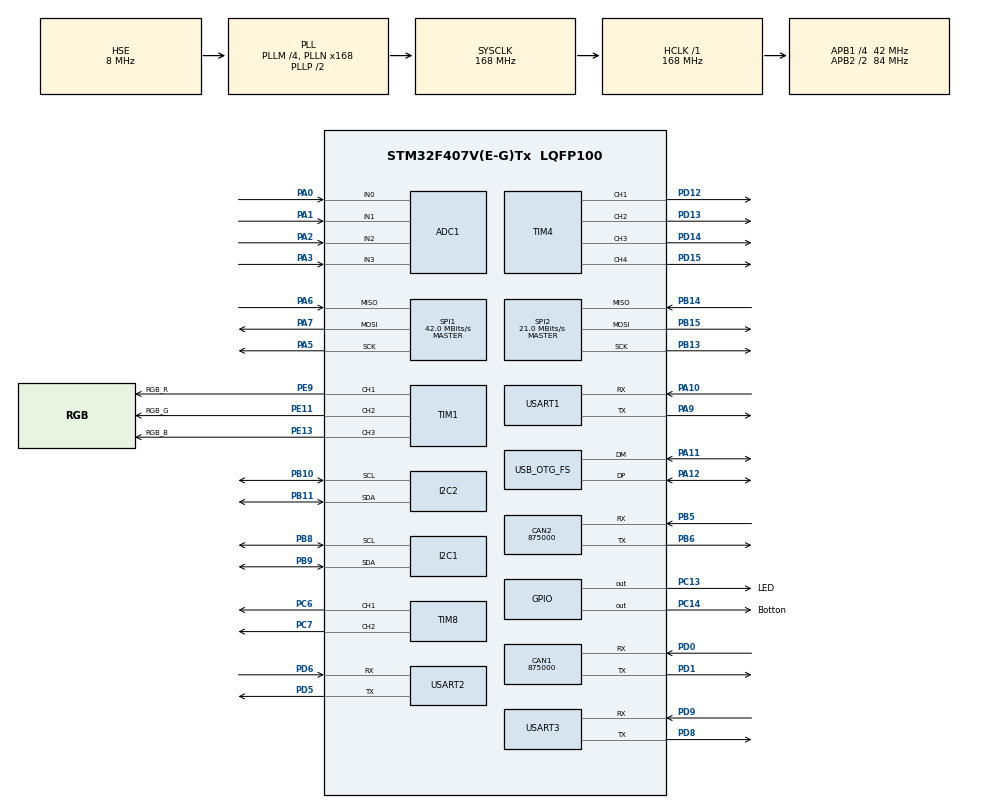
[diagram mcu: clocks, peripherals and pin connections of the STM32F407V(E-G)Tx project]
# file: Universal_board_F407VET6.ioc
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ADC1.Channel-0\#ChannelRegularConversion=ADC_CHANNEL_0
ADC1.Channel-1\#ChannelRegularConversion=ADC_CHANNEL_1
ADC1.Channel-2\#ChannelRegularConversion=ADC_CHANNEL_2
ADC1.Channel-3\#ChannelRegularConversion=ADC_CHANNEL_3
ADC1.ContinuousConvMode=ENABLE
ADC1.DMAContinuousRequests=ENABLE
ADC1.NbrOfConversion=4
ADC1.NbrOfConversionFlag=1
ADC1.Rank-0\#ChannelRegularConversion=1
ADC1.Rank-1\#ChannelRegularConversion=2
ADC1.Rank-2\#ChannelRegularConversion=3
ADC1.Rank-3\#ChannelRegularConversion=4
ADC1.SamplingTime-0\#ChannelRegularConversion=ADC_SAMPLETIME_15CYCLES
ADC1.SamplingTime-1\#ChannelRegularConversion=ADC_SAMPLETIME_15CYCLES
ADC1.SamplingTime-2\#ChannelRegularConversion=ADC_SAMPLETIME_15CYCLES
ADC1.SamplingTime-3\#ChannelRegularConversion=ADC_SAMPLETIME_15CYCLES
ADC1.master=1
CAN1.CalculateBaudRate=875000
CAN1.CalculateTimeBit=1142
CAN1.CalculateTimeQuantum=380.95238095238096
CAN2.CalculateBaudRate=875000
CAN2.CalculateTimeBit=1142
CAN2.CalculateTimeQuantum=380.95238095238096
Dma.ADC1.1.Direction=DMA_PERIPH_TO_MEMORY
Dma.ADC1.1.FIFOMode=DMA_FIFOMODE_DISABLE
Dma.ADC1.1.Instance=DMA2_Stream0
Dma.ADC1.1.MemDataAlignment=DMA_MDATAALIGN_HALFWORD
Dma.ADC1.1.MemInc=DMA_MINC_ENABLE
Dma.ADC1.1.Mode=DMA_CIRCULAR
Dma.ADC1.1.PeriphDataAlignment=DMA_PDATAALIGN_HALFWORD
Dma.ADC1.1.PeriphInc=DMA_PINC_DISABLE
Dma.ADC1.1.Priority=DMA_PRIORITY_LOW
Dma.Request0=USART1_RX
Dma.Request1=ADC1
Dma.USART1_RX.0.Direction=DMA_PERIPH_TO_MEMORY
Dma.USART1_RX.0.FIFOMode=DMA_FIFOMODE_DISABLE
Dma.USART1_RX.0.Instance=DMA2_Stream2
Dma.USART1_RX.0.MemDataAlignment=DMA_MDATAALIGN_BYTE
Dma.USART1_RX.0.MemInc=DMA_MINC_ENABLE
Dma.USART1_RX.0.Mode=DMA_NORMAL
Dma.USART1_RX.0.PeriphDataAlignment=DMA_PDATAALIGN_BYTE
Dma.USART1_RX.0.PeriphInc=DMA_PINC_DISABLE
Dma.USART1_RX.0.Priority=DMA_PRIORITY_LOW
Mcu.Family=STM32F4
Mcu.Name=STM32F407V(E-G)Tx
Mcu.Package=LQFP100
NVIC.DMA2_Stream0_IRQn=true\:0\:0\:false\:false\:true\:false\:true\:true
NVIC.DMA2_Stream2_IRQn=true\:0\:0\:false\:false\:true\:false\:true\:true
NVIC.PriorityGroup=NVIC_PRIORITYGROUP_4
NVIC.TIM2_IRQn=true\:15\:0\:false\:false\:true\:false\:true\:true
NVIC.TIM8_TRG_COM_TIM14_IRQn=true\:15\:0\:false\:false\:true\:false\:true\:true
NVIC.TimeBase=TIM2_IRQn
NVIC.TimeBaseIP=TIM2
NVIC.USART1_IRQn=true\:0\:0\:false\:false\:true\:true\:true\:true
PA0-WKUP.Signal=ADCx_IN0
PA1.Signal=ADCx_IN1
PA10.Mode=Asynchronous
PA10.Signal=USART1_RX
PA11.Mode=Device_Only
PA11.Signal=USB_OTG_FS_DM
PA12.Mode=Device_Only
PA12.Signal=USB_OTG_FS_DP
PA13.Mode=Serial_Wire
PA13.Signal=SYS_JTMS-SWDIO
PA14.Mode=Serial_Wire
PA14.Signal=SYS_JTCK-SWCLK
PA2.Signal=ADCx_IN2
PA3.Signal=ADCx_IN3
PA5.Mode=Full_Duplex_Master
PA5.Signal=SPI1_SCK
PA6.Mode=Full_Duplex_Master
PA6.Signal=SPI1_MISO
PA7.Mode=Full_Duplex_Master
PA7.Signal=SPI1_MOSI
PA9.Mode=Asynchronous
PA9.Signal=USART1_TX
PB10.Mode=I2C
PB10.Signal=I2C2_SCL
PB11.Mode=I2C
PB11.Signal=I2C2_SDA
PB13.Mode=Full_Duplex_Master
PB13.Signal=SPI2_SCK
PB14.Mode=Full_Duplex_Master
PB14.Signal=SPI2_MISO
PB15.Mode=Full_Duplex_Master
PB15.Signal=SPI2_MOSI
PB5.Mode=CAN_Activate
PB5.Signal=CAN2_RX
PB6.Mode=CAN_Activate
PB6.Signal=CAN2_TX
PB8.Mode=I2C
PB8.Signal=I2C1_SCL
PB9.Mode=I2C
PB9.Signal=I2C1_SDA
PC13-ANTI_TAMP.GPIO_Label=LED
PC13-ANTI_TAMP.GPIO_ModeDefaultOutputPP=GPIO_MODE_OUTPUT_PP
PC13-ANTI_TAMP.GPIO_Speed=GPIO_SPEED_FREQ_LOW
PC13-ANTI_TAMP.PinState=GPIO_PIN_SET
PC13-ANTI_TAMP.Signal=GPIO_Output
PC14-OSC32_IN.GPIO_Label=Botton
PC14-OSC32_IN.PinState=GPIO_PIN_SET
PC14-OSC32_IN.Signal=GPIO_Output
PC6.Signal=S_TIM8_CH1
PC7.Signal=S_TIM8_CH2
PD0.Mode=CAN_Activate
PD0.Signal=CAN1_RX
PD1.Mode=CAN_Activate
PD1.Signal=CAN1_TX
PD12.Signal=S_TIM4_CH1
PD13.Signal=S_TIM4_CH2
PD14.Signal=S_TIM4_CH3
PD15.Signal=S_TIM4_CH4
PD5.Mode=Asynchronous
PD5.Signal=USART2_TX
PD6.Mode=Asynchronous
PD6.Signal=USART2_RX
PD8.Mode=Asynchronous
PD8.Signal=USART3_TX
PD9.Mode=Asynchronous
PD9.Signal=USART3_RX
PE11.GPIO_Label=RGB_G
PE11.Signal=S_TIM1_CH2
PE13.GPIO_Label=RGB_B
PE13.Signal=S_TIM1_CH3
PE9.GPIO_Label=RGB_R
PE9.Signal=S_TIM1_CH1
PH0-OSC_IN.Mode=HSE-External-Oscillator
PH0-OSC_IN.Signal=RCC_OSC_IN
PH1-OSC_OUT.Mode=HSE-External-Oscillator
PH1-OSC_OUT.Signal=RCC_OSC_OUT
ProjectManager.HeapSize=0x2000
ProjectManager.StackSize=0x4000
ProjectManager.TargetToolchain=MDK-ARM V5.32
RCC.48MHZClocksFreq_Value=48000000
RCC.AHBFreq_Value=168000000
RCC.APB1CLKDivider=RCC_HCLK_DIV4
RCC.APB1Freq_Value=42000000
RCC.APB1TimFreq_Value=84000000
RCC.APB2CLKDivider=RCC_HCLK_DIV2
RCC.APB2Freq_Value=84000000
RCC.APB2TimFreq_Value=168000000
RCC.CortexFreq_Value=168000000
RCC.HCLKFreq_Value=168000000
RCC.HSE_VALUE=8000000
RCC.HSI_VALUE=16000000
RCC.LSE_VALUE=32768
RCC.PLLM=4
RCC.PLLN=168
RCC.PLLQ=7
RCC.SYSCLKFreq_VALUE=168000000
RCC.SYSCLKSource=RCC_SYSCLKSOURCE_PLLCLK
RCC.VCOOutputFreq_Value=336000000
SH.ADCx_IN0.0=ADC1_IN0,IN0
SH.ADCx_IN1.0=ADC1_IN1,IN1
SH.ADCx_IN2.0=ADC1_IN2,IN2
SH.ADCx_IN3.0=ADC1_IN3,IN3
SH.S_TIM1_CH1.0=TIM1_CH1,PWM Generation1 CH1
SH.S_TIM1_CH2.0=TIM1_CH2,PWM Generation2 CH2
SH.S_TIM1_CH3.0=TIM1_CH3,PWM Generation3 CH3
SH.S_TIM4_CH1.0=TIM4_CH1,PWM Generation1 CH1
SH.S_TIM4_CH2.0=TIM4_CH2,PWM Generation2 CH2
SH.S_TIM4_CH3.0=TIM4_CH3,PWM Generation3 CH3
SH.S_TIM4_CH4.0=TIM4_CH4,PWM Generation4 CH4
SH.S_TIM8_CH1.0=TIM8_CH1,PWM Generation1 CH1
SH.S_TIM8_CH2.0=TIM8_CH2,PWM Generation2 CH2
SPI1.CalculateBaudRate=42.0 MBits/s
SPI1.Direction=SPI_DIRECTION_2LINES
SPI1.Mode=SPI_MODE_MASTER
SPI1.VirtualType=VM_MASTER
SPI2.CalculateBaudRate=21.0 MBits/s
SPI2.Direction=SPI_DIRECTION_2LINES
SPI2.Mode=SPI_MODE_MASTER
SPI2.VirtualType=VM_MASTER
STMicroelectronics.X-CUBE-AZRTOS-F4.1.1.0.AZRTOS_APP_MEM_ALLOCATION_METHOD=0
STMicroelectronics.X-CUBE-AZRTOS-F4.1.1.0.TX_APP_MEM_POOL_SIZE=4096
STMicroelectronics.X-CUBE-AZRTOS-F4.1.1.0.TX_TIMER_TICKS_PER_SECOND=1000
STMicroelectronics.X-CUBE-AZRTOS-F4.1.1.0_IsAnAzureRtosMw=true
TIM1.Channel-PWM\ Generation1\ CH1=TIM_CHANNEL_1
TIM1.Channel-PWM\ Generation2\ CH2=TIM_CHANNEL_2
TIM1.Channel-PWM\ Generation3\ CH3=TIM_CHANNEL_3
TIM4.Channel-PWM\ Generation1\ CH1=TIM_CHANNEL_1
TIM4.Channel-PWM\ Generation2\ CH2=TIM_CHANNEL_2
TIM4.Channel-PWM\ Generation3\ CH3=TIM_CHANNEL_3
TIM4.Channel-PWM\ Generation4\ CH4=TIM_CHANNEL_4
TIM8.Channel-PWM\ Generation1\ CH1=TIM_CHANNEL_1
TIM8.Channel-PWM\ Generation2\ CH2=TIM_CHANNEL_2
USART1.VirtualMode=VM_ASYNC
USART2.VirtualMode=VM_ASYNC
USART3.VirtualMode=VM_ASYNC
USB_OTG_FS.VirtualMode=Device_Only
VP_CRC_VS_CRC.Mode=CRC_Activate
VP_RNG_VS_RNG.Mode=RNG_Activate
VP_SYS_VS_tim2.Mode=TIM2
board=custom

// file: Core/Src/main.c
/* USER CODE BEGIN Header */
/**
  ******************************************************************************
  * @file           : main.c
  * @brief          : Main program body
  ******************************************************************************
  * @attention
  *
  * Copyright (c) 2024 STMicroelectronics.
  * All rights reserved.
  *
  * This software is licensed under terms that can be found in the LICENSE file
  * in the root directory of this software component.
  * If no LICENSE file comes with this software, it is provided AS-IS.
  *
  ******************************************************************************
  */
/* USER CODE END Header */
#include "main.h"
#include "adc.h"
#include "can.h"
#include "crc.h"
#include "dma.h"
#include "i2c.h"
#include "rng.h"
#include "spi.h"
#include "tim.h"
#include "usart.h"
#include "usb_otg.h"
#include "gpio.h"

/* USER CODE BEGIN Includes */
#include "ThreadX_control.h"
#include "stdio.h"
/* USER CODE END Includes */

/* USER CODE BEGIN PTD */
//Serial port redirection
#ifdef __GNUC__
#define PUTCHAR_PROTOTYPE int __io_putchar(int ch)
#else
#define PUTCHAR_PROTOTYPE int fputc(int ch, FILE *f)
#endif
PUTCHAR_PROTOTYPE
{
    HAL_UART_Transmit(&huart1 , (uint8_t *)&ch, 1, 0xFFFF);
    return ch;
}
/* USER CODE END PTD */

void SystemClock_Config(void);
/* USER CODE BEGIN PFP */
/*******************************************************************************
* Function Name  : tx_application_define
* Description    : tx_application_define
* Input          : VOID *first_unused_memory
* Output         : None
* Return         : None
* Note			     :
*******************************************************************************/
VOID tx_application_define(VOID *first_unused_memory)
{

  VOID *memory_ptr;

  if (tx_byte_pool_create(&tx_app_byte_pool, "Tx App memory pool", tx_byte_pool_buffer, TX_APP_MEM_POOL_SIZE) != TX_SUCCESS)
  {
    //Error handling
  }
  else
  {
    memory_ptr = (VOID *)&tx_app_byte_pool;

    if (ThreadX_Init(memory_ptr) != TX_SUCCESS)
    {
          //Error handling

    }
  }
}
/* USER CODE END PFP */

int main(void)
{

  /* MCU Configuration--------------------------------------------------------*/

  /* Reset of all peripherals, Initializes the Flash interface and the Systick. */
  HAL_Init();

  /* Configure the system clock */
  SystemClock_Config();

  /* Initialize all configured peripherals */
  MX_GPIO_Init();
  MX_DMA_Init();
  MX_ADC1_Init();
  MX_CAN1_Init();
  MX_CAN2_Init();
  MX_I2C1_Init();
  MX_I2C2_Init();
  MX_SPI1_Init();
  MX_SPI2_Init();
  MX_TIM4_Init();
  MX_TIM8_Init();
  MX_USART1_UART_Init();
  MX_USB_OTG_FS_PCD_Init();
  MX_CRC_Init();
  MX_RNG_Init();
  MX_USART2_UART_Init();
  MX_USART3_UART_Init();
  MX_TIM1_Init();
  /* USER CODE BEGIN 2 */
//  HAL_GPIO_TogglePin(LED_PORT, LED_PIN);
  tx_kernel_enter();
  /* USER CODE END 2 */

  /* Infinite loop */
  while (1)
  {

  }
}

void SystemClock_Config(void)
{
  RCC_OscInitTypeDef RCC_OscInitStruct = {0};
  RCC_ClkInitTypeDef RCC_ClkInitStruct = {0};

  /** Configure the main internal regulator output voltage
  */
  __HAL_RCC_PWR_CLK_ENABLE();
  __HAL_PWR_VOLTAGESCALING_CONFIG(PWR_REGULATOR_VOLTAGE_SCALE1);

  /** Initializes the RCC Oscillators according to the specified parameters
  * in the RCC_OscInitTypeDef structure.
  */
  RCC_OscInitStruct.OscillatorType = RCC_OSCILLATORTYPE_HSE;
  RCC_OscInitStruct.HSEState = RCC_HSE_ON;
  RCC_OscInitStruct.PLL.PLLState = RCC_PLL_ON;
  RCC_OscInitStruct.PLL.PLLSource = RCC_PLLSOURCE_HSE;
  RCC_OscInitStruct.PLL.PLLM = 4;
  RCC_OscInitStruct.PLL.PLLN = 168;
  RCC_OscInitStruct.PLL.PLLP = RCC_PLLP_DIV2;
  RCC_OscInitStruct.PLL.PLLQ = 7;
  if (HAL_RCC_OscConfig(&RCC_OscInitStruct) != HAL_OK)
  {
    Error_Handler();
  }

  /** Initializes the CPU, AHB and APB buses clocks
  */
  RCC_ClkInitStruct.ClockType = RCC_CLOCKTYPE_HCLK|RCC_CLOCKTYPE_SYSCLK
                              |RCC_CLOCKTYPE_PCLK1|RCC_CLOCKTYPE_PCLK2;
  RCC_ClkInitStruct.SYSCLKSource = RCC_SYSCLKSOURCE_PLLCLK;
  RCC_ClkInitStruct.AHBCLKDivider = RCC_SYSCLK_DIV1;
  RCC_ClkInitStruct.APB1CLKDivider = RCC_HCLK_DIV4;
  RCC_ClkInitStruct.APB2CLKDivider = RCC_HCLK_DIV2;

  if (HAL_RCC_ClockConfig(&RCC_ClkInitStruct, FLASH_LATENCY_5) != HAL_OK)
  {
    Error_Handler();
  }
}

void HAL_TIM_PeriodElapsedCallback(TIM_HandleTypeDef *htim)
{
  if (htim->Instance == TIM2)
  {
    HAL_IncTick();
  }
}

void Error_Handler(void)
{
  __disable_irq();
  while (1)
  {
  }
}
